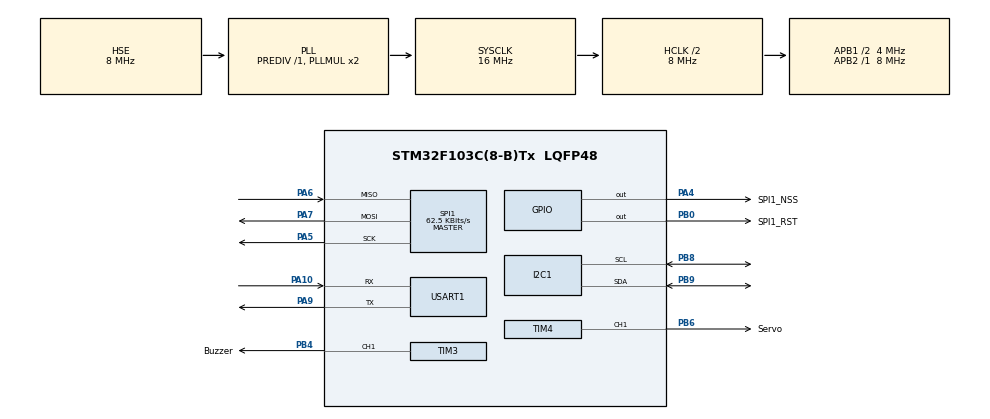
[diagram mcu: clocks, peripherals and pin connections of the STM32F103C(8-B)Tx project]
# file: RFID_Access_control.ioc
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Mcu.Family=STM32F1
PA6.Mode=Full_Duplex_Master
SPI1.VirtualType=VM_MASTER
PB0.GPIO_Label=SPI1_RST
PB6.GPIO_Label=Servo
RCC.SYSCLKSource=RCC_SYSCLKSOURCE_PLLCLK
ProjectManager.StackSize=0x400
PD1-OSC_OUT.Signal=RCC_OSC_OUT
SPI1.Direction=SPI_DIRECTION_2LINES
RCC.HCLKFreq_Value=8000000
RCC.APB2TimFreq_Value=8000000
TIM3.Period=999
TIM4.Pulse-PWM\ Generation1\ CH1=5
PB6.Signal=S_TIM4_CH1
SPI1.CalculateBaudRate=62.5 KBits/s
RCC.AHBFreq_Value=8000000
TIM3.Channel-PWM\ Generation1\ CH1=TIM_CHANNEL_1
PA14.Mode=Serial_Wire
TIM3.Prescaler=7
SH.S_TIM3_CH1.0=TIM3_CH1,PWM Generation1 CH1
TIM4.Period=199
TIM3.OCPolarity_1=TIM_OCPOLARITY_HIGH
Mcu.Package=LQFP48
PB9.Signal=I2C1_SDA
PA6.Signal=SPI1_MISO
PA10.Signal=USART1_RX
SH.S_TIM4_CH1.0=TIM4_CH1,PWM Generation1 CH1
RCC.APB1TimFreq_Value=8000000
SPI1.BaudRatePrescaler=SPI_BAUDRATEPRESCALER_128
PA4.GPIO_Label=SPI1_NSS
VP_TIM3_VS_ClockSourceINT.Mode=Internal
PB4.Signal=S_TIM3_CH1
PA5.Mode=Full_Duplex_Master
RCC.PLLSourceVirtual=RCC_PLLSOURCE_HSE
TIM4.Channel-PWM\ Generation1\ CH1=TIM_CHANNEL_1
TIM4.AutoReloadPreload=TIM_AUTORELOAD_PRELOAD_ENABLE
PA7.Mode=Full_Duplex_Master
PD1-OSC_OUT.Mode=HSE-External-Oscillator
PA10.Mode=Asynchronous
TIM3.AutoReloadPreload=TIM_AUTORELOAD_PRELOAD_ENABLE
SPI1.CLKPhase=SPI_PHASE_2EDGE
PD0-OSC_IN.Signal=RCC_OSC_IN
RCC.APB1CLKDivider=RCC_HCLK_DIV2
PA13.Signal=SYS_JTMS-SWDIO
PA9.Mode=Asynchronous
ProjectManager.TargetToolchain=STM32CubeIDE
I2C1.I2C_Mode=I2C_Fast
PB9.Mode=I2C
PA9.Signal=USART1_TX
RCC.USBFreq_Value=16000000
TIM4.Prescaler=799
PD0-OSC_IN.Mode=HSE-External-Oscillator
PA5.Signal=SPI1_SCK
board=custom
RCC.APB2Freq_Value=8000000
PB4.GPIO_Label=Buzzer
SPI1.Mode=SPI_MODE_MASTER
RCC.AHBCLKDivider=RCC_SYSCLK_DIV2
PA13.Mode=Serial_Wire
Mcu.Name=STM32F103C(8-B)Tx
TIM4.OCPolarity_1=TIM_OCPOLARITY_HIGH
PA4.Signal=GPIO_Output
RCC.SYSCLKFreq_VALUE=16000000
USART1.VirtualMode=VM_ASYNC
PA14.Signal=SYS_JTCK-SWCLK
ProjectManager.HeapSize=0x200
VP_TIM4_VS_ClockSourceINT.Mode=Internal
NVIC.PriorityGroup=NVIC_PRIORITYGROUP_4
PB8.Mode=I2C
PB8.Signal=I2C1_SCL
RCC.APB1Freq_Value=4000000
PB0.Signal=GPIO_Output
PA7.Signal=SPI1_MOSI

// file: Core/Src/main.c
/* USER CODE BEGIN Header */
/**
  ******************************************************************************
  * @file           : main.c
  * @brief          : Main program body
  ******************************************************************************
  * @attention
  *
  * <h2><center>&copy; Copyright (c) 2020 STMicroelectronics.
  * All rights reserved.</center></h2>
  *
  * This software component is licensed by ST under BSD 3-Clause license,
  * the "License"; You may not use this file except in compliance with the
  * License. You may obtain a copy of the License at:
  *                        opensource.org/licenses/BSD-3-Clause
  *
  ******************************************************************************
  */
/* USER CODE END Header */
#include "main.h"
#include "i2c.h"
#include "spi.h"
#include "tim.h"
#include "usart.h"
#include "gpio.h"

/* USER CODE BEGIN Includes */
#include "OLED.h"
#include "Servo.h"
#include "Buzzer.h"
#include "MFRC522.h"
#include "stdio.h"  // 重定向printf

/* USER CODE END Includes */

/* USER CODE BEGIN PM */
// 重定向，串口打印
#ifdef __GNUC__
#define PUTCHAR_PROTOTYPE int __io_putchar(int ch)
#else
#define PUTCHAR_PROTOTYPE int fputc(int ch, FILE *f)
#endif
PUTCHAR_PROTOTYPE
{
	HAL_UART_Transmit(&huart1, (uint8_t*)&ch, 1, HAL_MAX_DELAY);
    return ch;
}

/* USER CODE END PM */

void SystemClock_Config(void);
/* USER CODE BEGIN PFP */
void RC522_Init()
{
	PcdReset();      // 复位RC522
	PcdAntennaOff(); // 关闭天线
	PcdAntennaOn();  // 打开天线
	M500PcdConfigISOType( 'A' ); // 设置工作方式：ISO14443_A
	printf("\r\n Initialization succeeded! \r\n");
}
/* USER CODE END PFP */

int main(void)
{
  /* USER CODE BEGIN 1 */
	//uint16_t compare_value;
	char status;
	unsigned char TagType[2], SelectedSnr[4];
	//unsigned char snr, buf[16], TagType[2], SelectedSnr[4]; // 扇区号，扇区数据，卡类型，卡序列
	//unsigned char DefaultKey[6] = {0xFF, 0xFF, 0xFF, 0xFF, 0xFF, 0xFF}; // 扇区密码

	const unsigned char Identify[4][4] = {{0x91, 0x72, 0xf9, 0x7c},// 可识别UID: WJX，FJR，YJY，OHS
										  {0x80, 0x77, 0x41, 0xb6},
										  {0xC0, 0x2A, 0x03, 0xB6},
										  {0xE0, 0x1C, 0x02, 0xB6}};
  /* USER CODE END 1 */

  /* MCU Configuration--------------------------------------------------------*/

  /* Reset of all peripherals, Initializes the Flash interface and the Systick. */
  HAL_Init();

  /* Configure the system clock */
  SystemClock_Config();

  /* Initialize all configured peripherals */
  MX_GPIO_Init();
  MX_SPI1_Init();
  MX_USART1_UART_Init();
  MX_TIM4_Init();
  MX_TIM3_Init();
  MX_I2C1_Init();
  /* USER CODE BEGIN 2 */
  RC522_Init();
  OLED_init();
  HAL_TIM_Base_Start(&htim3);
  HAL_TIM_Base_Start(&htim4);
  HAL_TIM_PWM_Start(&htim3, TIM_CHANNEL_1);
  HAL_TIM_PWM_Start(&htim4, TIM_CHANNEL_1);
  Beep_Start();
  OLED_Start();
  HAL_Delay(3200);
  OLED_Wait();
  /* USER CODE END 2 */

  /* Infinite loop */
  while (1)
  {

    /* USER CODE BEGIN 3 */
	//compare_value=__HAL_TIM_GET_COMPARE(&htim4, TIM_CHANNEL_1);
	status= PcdRequest(REQ_ALL,TagType);   // 唤醒卡片
	if(!status){
		status = PcdAnticoll(SelectedSnr); // 防冲
		printf("\r\n Request succeeded!\r\n");
		unsigned char i,j;
		unsigned char key;
		for(i=0;i<4;i++){         // 历数每一个已知UID
			key = 0;              // 将校验标志位置零
			for(j=0;j<4;j++){     // 历数UID每一个块
				if(SelectedSnr[j]!=Identify[i][j]){
					break;        // 不匹配，对照下一个UID
				}
				if(j==3){         // 完全匹配
					key = 1;
					OLED_Welcome();
					Beep_Welcome();
					OpenDoor();
					OLED_Wait();
					//printf("\r\n Welcome!\r\n");
				}
			}
			if(key==1){           // 认证成功
				break;
			}
			else if(i==3){        // 未知UID
				OLED_Error();
				Beep_Error();
				HAL_Delay(3200);
				OLED_Wait();
				//printf("\r\n Unknown identity!\r\n");
			}
		}
		/*if(!status){
			status=PcdSelect(SelectedSnr); // 选择卡片
			printf("UID = %x %x %x %x\r\n",SelectedSnr[0],SelectedSnr[1],SelectedSnr[2],SelectedSnr[3]);
			if(!status){
				snr = 1;                   // 选择扇区1
				status = PcdAuthState(KEYA, (snr*4+3), DefaultKey, SelectedSnr); // 校验扇区密码：密码位于块3
				if(!status){
					status = PcdRead((snr*4+0), buf);  // 读卡，读1扇区0块数据到buf[0]-buf[16]
					//status = PcdWrite((snr*4+0), buf);  // 写卡，将buf[0]-buf[16]写入1扇区0
					if(!status){
						//LED_ON; // 读写成功，点亮LED
						WaitCardOff();
					}
				}
			}
		}*/
	}
	//LED_OFF;
  }
  /* USER CODE END 3 */
}

void SystemClock_Config(void)
{
  RCC_OscInitTypeDef RCC_OscInitStruct = {0};
  RCC_ClkInitTypeDef RCC_ClkInitStruct = {0};

  /** Initializes the RCC Oscillators according to the specified parameters
  * in the RCC_OscInitTypeDef structure.
  */
  RCC_OscInitStruct.OscillatorType = RCC_OSCILLATORTYPE_HSE;
  RCC_OscInitStruct.HSEState = RCC_HSE_ON;
  RCC_OscInitStruct.HSEPredivValue = RCC_HSE_PREDIV_DIV1;
  RCC_OscInitStruct.HSIState = RCC_HSI_ON;
  RCC_OscInitStruct.PLL.PLLState = RCC_PLL_ON;
  RCC_OscInitStruct.PLL.PLLSource = RCC_PLLSOURCE_HSE;
  RCC_OscInitStruct.PLL.PLLMUL = RCC_PLL_MUL2;
  if (HAL_RCC_OscConfig(&RCC_OscInitStruct) != HAL_OK)
  {
    Error_Handler();
  }
  /** Initializes the CPU, AHB and APB buses clocks
  */
  RCC_ClkInitStruct.ClockType = RCC_CLOCKTYPE_HCLK|RCC_CLOCKTYPE_SYSCLK
                              |RCC_CLOCKTYPE_PCLK1|RCC_CLOCKTYPE_PCLK2;
  RCC_ClkInitStruct.SYSCLKSource = RCC_SYSCLKSOURCE_PLLCLK;
  RCC_ClkInitStruct.AHBCLKDivider = RCC_SYSCLK_DIV2;
  RCC_ClkInitStruct.APB1CLKDivider = RCC_HCLK_DIV2;
  RCC_ClkInitStruct.APB2CLKDivider = RCC_HCLK_DIV1;

  if (HAL_RCC_ClockConfig(&RCC_ClkInitStruct, FLASH_LATENCY_0) != HAL_OK)
  {
    Error_Handler();
  }
}

void Error_Handler(void)
{
}

/************************ (C) COPYRIGHT STMicroelectronics *****END OF FILE****/
